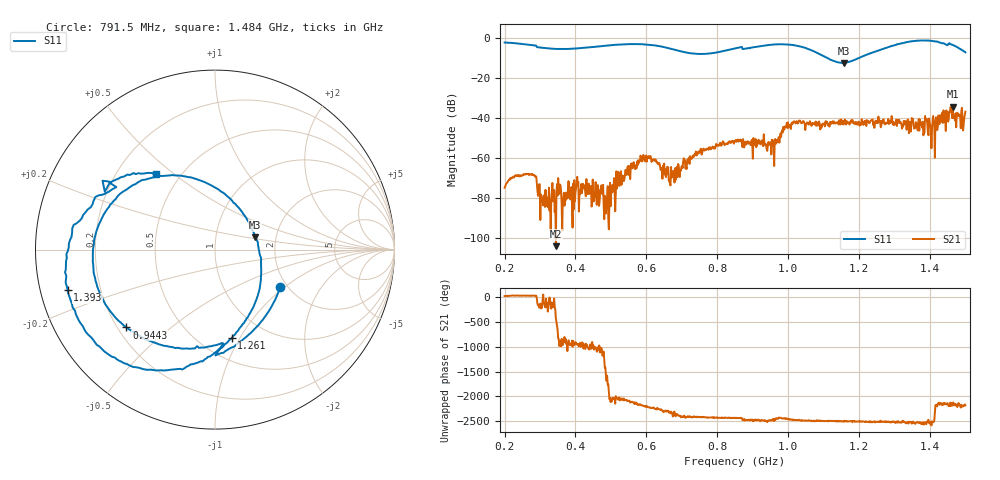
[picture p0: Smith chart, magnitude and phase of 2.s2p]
! NanoVNA-App
! Date: 2024-06-25 16:52:38
! Start: 200MHz Stop: 1.5GHz Points: 801
! S-Parameter data: F S11 S21 S12 S22
# Hz S RI R 50
!  Frequency  S11_Real  S11_Imag  S21_Real  S21_Imag  S12_Real  S12_Imag  S22_Real  S22_Imag
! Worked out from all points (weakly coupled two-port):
!   801 points, 200 MHz to 1.5 GHz, reference 50 ohm
!   highest |S21| = -34.42 dB at 1.464 GHz (marker M1); lowest = -104.3 dB at 344.6 MHz (marker M2)
!   lowest |S11| = -12.6 dB at 1.157 GHz (marker M3), VSWR 1.61, Z = 78 + j11.2 ohm
!   |S11| at or under -10 dB: 1.11 GHz to 1.201 GHz (91.92 MHz wide, 7.96 % of centre)
!   S12 and S22 are empty: the file has one direction only
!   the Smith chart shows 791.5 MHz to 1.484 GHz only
!   S11 on the Smith chart (normalised r, x): 791.5 MHz: 1.85, -0.92; 944.2 MHz: 0.23, -0.36; 1.261 GHz: 0.70, -0.93; 1.393 GHz: 0.08, -0.13; 1.484 GHz: 0.37, +0.43
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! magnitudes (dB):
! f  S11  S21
! 200 MHz  -2.4  -75.1
! 266.6 MHz  -3.5  -68.1
! 307.2 MHz  -5.1  -82.2
! 344.6 MHz  -5.6  -104.3
! 417.8 MHz  -5.1  -77.8
! 489.2 MHz  -3.9  -80.2
! 586.8 MHz  -3.2  -61.8
! 633.9 MHz  -4.1  -63.4
! 669.6 MHz  -5.5  -64.6
! 791.5 MHz  -7.6  -55.4
! 850 MHz  -5.4  -51.6
! 944.2 MHz  -3.6  -52.2
! 1.016 GHz  -3.7  -41.9
! 1.068 GHz  -6.4  -42.6
! 1.157 GHz  -12.6  -42.7
! 1.261 GHz  -6.0  -44.8
! 1.284 GHz  -4.6  -43.2
! 1.393 GHz  -1.4  -43.7
! 1.407 GHz  -1.7  -41.9
! 1.464 GHz  -3.6  -34.4
! 1.484 GHz  -5.5  -38.6
! 1.5 GHz  -7.3  -37.0
